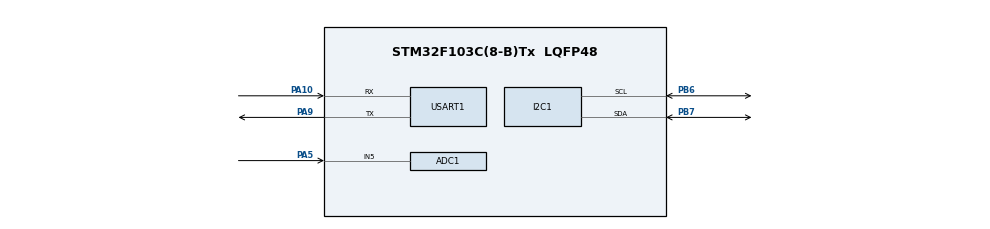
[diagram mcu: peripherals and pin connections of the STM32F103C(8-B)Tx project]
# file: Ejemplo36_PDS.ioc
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ADC1.Channel-1\#ChannelRegularConversion=ADC_CHANNEL_5
ADC1.NbrOfConversionFlag=1
ADC1.Rank-1\#ChannelRegularConversion=1
ADC1.SamplingTime-1\#ChannelRegularConversion=ADC_SAMPLETIME_1CYCLE_5
ADC1.master=1
Mcu.Family=STM32F1
Mcu.Name=STM32F103C(8-B)Tx
Mcu.Package=LQFP48
NVIC.PriorityGroup=NVIC_PRIORITYGROUP_4
PA10.Mode=Asynchronous
PA10.Signal=USART1_RX
PA13.Mode=Serial_Wire
PA13.Signal=SYS_JTMS-SWDIO
PA14.Mode=Serial_Wire
PA14.Signal=SYS_JTCK-SWCLK
PA5.Signal=ADCx_IN5
PA9.Mode=Asynchronous
PA9.Signal=USART1_TX
PB6.Mode=I2C
PB6.Signal=I2C1_SCL
PB7.Mode=I2C
PB7.Signal=I2C1_SDA
ProjectManager.HeapSize=0x200
ProjectManager.StackSize=0x400
ProjectManager.TargetToolchain=STM32CubeIDE
RCC.APB1Freq_Value=8000000
RCC.APB2Freq_Value=8000000
SH.ADCx_IN5.0=ADC1_IN5,IN5
USART1.VirtualMode=VM_ASYNC
board=custom

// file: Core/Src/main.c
/* USER CODE BEGIN Header */
/**
  ******************************************************************************
  * @file           : main.c
  * @brief          : Main program body
  ******************************************************************************
  * @attention
  *
  * Copyright (c) 2023 STMicroelectronics.
  * All rights reserved.
  *
  * This software is licensed under terms that can be found in the LICENSE file
  * in the root directory of this software component.
  * If no LICENSE file comes with this software, it is provided AS-IS.
  *
  ******************************************************************************
  */
/* USER CODE END Header */
#include "main.h"

/* USER CODE BEGIN Includes */
#include "string.h"
#include "stdio.h"
/* USER CODE END Includes */

ADC_HandleTypeDef hadc1;

I2C_HandleTypeDef hi2c1;

UART_HandleTypeDef huart1;

void SystemClock_Config(void);
static void MX_GPIO_Init(void);
static void MX_ADC1_Init(void);
static void MX_I2C1_Init(void);
static void MX_USART1_UART_Init(void);

/* USER CODE BEGIN 0 */
int __io_putchar(int ch){

	  HAL_UART_Transmit(&huart1, (const uint8_t *)&ch, (uint16_t)1, HAL_MAX_DELAY);

	  return ch;
}

uint32_t AnalogRead(uint32_t channel){

	   uint32_t ADC_VALUE;

	  ADC_ChannelConfTypeDef sConfig = {0};

	    sConfig.Channel = channel;
	    sConfig.Rank = 1;
	    sConfig.SamplingTime = ADC_SAMPLETIME_13CYCLES_5;
	    if (HAL_ADC_ConfigChannel(&hadc1, &sConfig) != HAL_OK)
	    {
	      Error_Handler();
	    }
	    HAL_ADC_Start(&hadc1);
	    HAL_ADC_PollForConversion(&hadc1, 1000000);
	    ADC_VALUE = HAL_ADC_GetValue(&hadc1);

	    HAL_ADC_Stop(&hadc1);
	    return ADC_VALUE;
}
uint16_t adc;
/* USER CODE END 0 */

int main(void)
{

  /* MCU Configuration--------------------------------------------------------*/

  /* Reset of all peripherals, Initializes the Flash interface and the Systick. */
  HAL_Init();

  /* Configure the system clock */
  SystemClock_Config();

  /* Initialize all configured peripherals */
  MX_GPIO_Init();
  MX_ADC1_Init();
  MX_I2C1_Init();
  MX_USART1_UART_Init();

  /* Infinite loop */
  /* USER CODE BEGIN WHILE */
  while (1)
  {

	  HAL_ADC_Start(&hadc1);
	HAL_ADC_PollForConversion(&hadc1, 1000000);
	HAL_Delay(1);
	 	   adc = HAL_ADC_GetValue(&hadc1);

	 	    HAL_ADC_Stop(&hadc1);
	  printf("ADC->%u\n\r",adc);
	  HAL_Delay(1000);
    /* USER CODE END WHILE */

  }
}

void SystemClock_Config(void)
{
  RCC_OscInitTypeDef RCC_OscInitStruct = {0};
  RCC_ClkInitTypeDef RCC_ClkInitStruct = {0};
  RCC_PeriphCLKInitTypeDef PeriphClkInit = {0};

  /** Initializes the RCC Oscillators according to the specified parameters
  * in the RCC_OscInitTypeDef structure.
  */
  RCC_OscInitStruct.OscillatorType = RCC_OSCILLATORTYPE_HSI;
  RCC_OscInitStruct.HSIState = RCC_HSI_ON;
  RCC_OscInitStruct.HSICalibrationValue = RCC_HSICALIBRATION_DEFAULT;
  RCC_OscInitStruct.PLL.PLLState = RCC_PLL_NONE;
  if (HAL_RCC_OscConfig(&RCC_OscInitStruct) != HAL_OK)
  {
    Error_Handler();
  }

  /** Initializes the CPU, AHB and APB buses clocks
  */
  RCC_ClkInitStruct.ClockType = RCC_CLOCKTYPE_HCLK|RCC_CLOCKTYPE_SYSCLK
                              |RCC_CLOCKTYPE_PCLK1|RCC_CLOCKTYPE_PCLK2;
  RCC_ClkInitStruct.SYSCLKSource = RCC_SYSCLKSOURCE_HSI;
  RCC_ClkInitStruct.AHBCLKDivider = RCC_SYSCLK_DIV1;
  RCC_ClkInitStruct.APB1CLKDivider = RCC_HCLK_DIV1;
  RCC_ClkInitStruct.APB2CLKDivider = RCC_HCLK_DIV1;

  if (HAL_RCC_ClockConfig(&RCC_ClkInitStruct, FLASH_LATENCY_0) != HAL_OK)
  {
    Error_Handler();
  }
  PeriphClkInit.PeriphClockSelection = RCC_PERIPHCLK_ADC;
  PeriphClkInit.AdcClockSelection = RCC_ADCPCLK2_DIV2;
  if (HAL_RCCEx_PeriphCLKConfig(&PeriphClkInit) != HAL_OK)
  {
    Error_Handler();
  }
}

static void MX_ADC1_Init(void)
{

  ADC_ChannelConfTypeDef sConfig = {0};

  /** Common config
  */
  hadc1.Instance = ADC1;
  hadc1.Init.ScanConvMode = ADC_SCAN_DISABLE;
  hadc1.Init.ContinuousConvMode = DISABLE;
  hadc1.Init.DiscontinuousConvMode = DISABLE;
  hadc1.Init.ExternalTrigConv = ADC_SOFTWARE_START;
  hadc1.Init.DataAlign = ADC_DATAALIGN_RIGHT;
  hadc1.Init.NbrOfConversion = 1;
  if (HAL_ADC_Init(&hadc1) != HAL_OK)
  {
    Error_Handler();
  }

  /** Configure Regular Channel
  */
  sConfig.Channel = ADC_CHANNEL_5;
  sConfig.Rank = ADC_REGULAR_RANK_1;
  sConfig.SamplingTime = ADC_SAMPLETIME_1CYCLE_5;
  if (HAL_ADC_ConfigChannel(&hadc1, &sConfig) != HAL_OK)
  {
    Error_Handler();
  }

}

static void MX_I2C1_Init(void)
{

  hi2c1.Instance = I2C1;
  hi2c1.Init.ClockSpeed = 100000;
  hi2c1.Init.DutyCycle = I2C_DUTYCYCLE_2;
  hi2c1.Init.OwnAddress1 = 0;
  hi2c1.Init.AddressingMode = I2C_ADDRESSINGMODE_7BIT;
  hi2c1.Init.DualAddressMode = I2C_DUALADDRESS_DISABLE;
  hi2c1.Init.OwnAddress2 = 0;
  hi2c1.Init.GeneralCallMode = I2C_GENERALCALL_DISABLE;
  hi2c1.Init.NoStretchMode = I2C_NOSTRETCH_DISABLE;
  if (HAL_I2C_Init(&hi2c1) != HAL_OK)
  {
    Error_Handler();
  }

}

static void MX_USART1_UART_Init(void)
{

  huart1.Instance = USART1;
  huart1.Init.BaudRate = 115200;
  huart1.Init.WordLength = UART_WORDLENGTH_8B;
  huart1.Init.StopBits = UART_STOPBITS_1;
  huart1.Init.Parity = UART_PARITY_NONE;
  huart1.Init.Mode = UART_MODE_TX_RX;
  huart1.Init.HwFlowCtl = UART_HWCONTROL_NONE;
  huart1.Init.OverSampling = UART_OVERSAMPLING_16;
  if (HAL_UART_Init(&huart1) != HAL_OK)
  {
    Error_Handler();
  }

}

static void MX_GPIO_Init(void)
{

  /* GPIO Ports Clock Enable */
  __HAL_RCC_GPIOA_CLK_ENABLE();
  __HAL_RCC_GPIOB_CLK_ENABLE();

}

void Error_Handler(void)
{
  __disable_irq();
  while (1)
  {
  }
}
